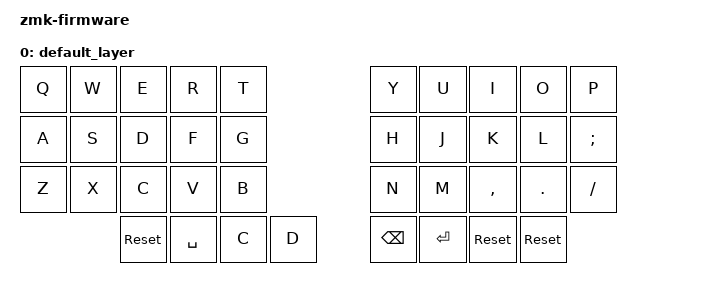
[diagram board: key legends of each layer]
// Copyright (c) 2022 The ZMK Contributors
// SPDX-License-Identifier: MIT
#include <physical_layouts.dtsi>
#include <behaviors.dtsi>
#include <dt-bindings/zmk/keys.h>
#include <dt-bindings/zmk/bt.h>




/ {
    compatible = "zmk,firmware";
    model = "zmk-firmware";

    
    keymap {
        compatible = "zmk,keymap";

        default_layer {
            bindings = <
            &kp Q    &kp W    &kp E     &kp R     &kp T                                                 &kp Y     &kp U     &kp I     &kp O     &kp P
            &kp A    &kp S    &kp D     &kp F     &kp G                                                 &kp H     &kp J     &kp K     &kp L     &kp SEMICOLON
            &kp Z    &kp X    &kp C     &kp V     &kp B                                                 &kp N     &kp M     &kp COMMA &kp DOT   &kp FSLH
                              &sys_reset  &kp SPACE  &kp C  &kp D                                &kp BSPC  &kp ENTER  &sys_reset  &sys_reset  
            >;
        };

        extra1 {
            status = "reserved";
        };

        extra2 {
            status = "reserved";
        };
        extra3 {
            status = "reserved";
        };

        extra4 {
            status = "reserved";
        };
        extra45{
            status = "reserved";
        };
        extra6 {
            status = "reserved";
        };
        extra7 {
            status = "reserved";
        };

    };


};
